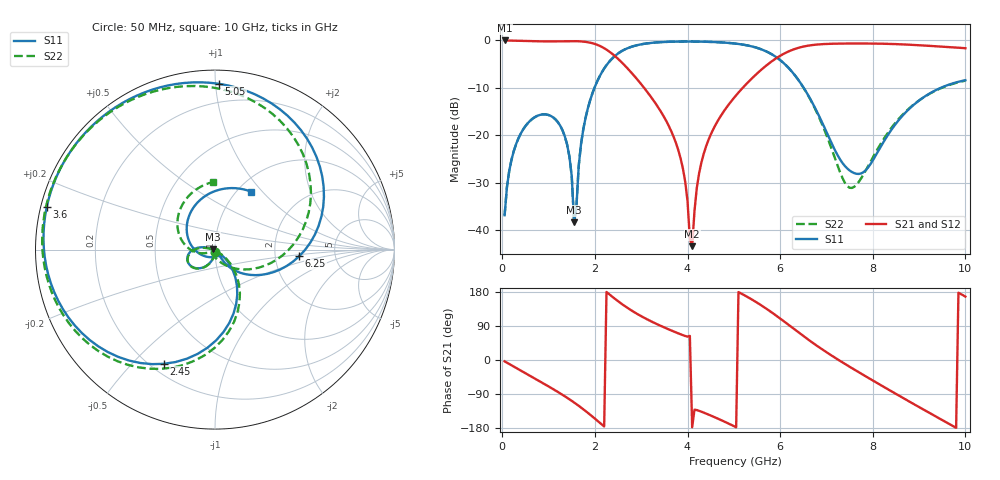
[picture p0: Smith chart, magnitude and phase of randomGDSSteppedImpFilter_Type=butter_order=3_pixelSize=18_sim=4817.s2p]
! freq	dB(S11)	phase(S11)	dB(S12)	phase(S12)
!  dB(S21)	phase(S21)	dB(S22)	phase(S22)
!S-par simulation data
#  GHz  S  DB  R 50
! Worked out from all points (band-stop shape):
!   200 points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, 50 MHz to 10 GHz, reference 50 ohm
!   highest |S21| = -0.01 dB at 50 MHz (marker M1); lowest = -43.4 dB at 4.1 GHz (marker M2)
!   |S21| within 3 dB of the highest: start of sweep to 2.397 GHz; 6.042 GHz to end of sweep
!   lowest |S11| = -38.3 dB at 1.55 GHz (marker M3), VSWR 1.02, Z = 48.8 + j0.0731 ohm
!   |S11| at or under -10 dB: start of sweep to 1.991 GHz; 6.509 GHz to 9.467 GHz (2.958 GHz wide, 37 % of centre)
!   |S22| runs from -38.3 to -0.2 dB; largest |S21 - S12| = 0
!   S11 on the Smith chart (normalised r, x): 50 MHz: 1.00, -0.03; 2.45 GHz: 0.25, -0.62; 3.6 GHz: 0.02, +0.12; 5.05 GHz: 0.08, +1.02; 6.25 GHz: 2.75, -0.26; 10 GHz: 1.15, +0.87
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0.05  -36.85 -93.0  -0.01 -3.6  -0.01 -3.6  -36.85 -92.9
0.35  -20.61 -115.1  -0.07 -24.5  -0.07 -24.5  -20.61 -114.5
0.95  -15.61 -157.2  -0.21 -66.2  -0.21 -66.2  -15.62 -155.6
1.4  -21.97 170.6  -0.16 -99.7  -0.16 -99.7  -21.98 173.3
1.55  -38.34 176.5  -0.15 -112.1  -0.15 -112.1  -38.32 -179.0
1.75  -18.70 -45.3  -0.25 -130.0  -0.25 -130.0  -18.68 -42.5
2.1  -7.62 -78.9  -1.14 -165.0  -1.14 -165.0  -7.61 -75.2
2.45  -3.13 -114.1  -3.45 159.8  -3.45 159.8  -3.13 -109.7
3.4  -0.38 176.7  -14.63 91.2  -14.63 91.2  -0.38 -176.6
3.6  -0.29 165.8  -18.13 80.5  -18.13 80.5  -0.29 172.9
3.9  -0.24 150.2  -27.00 65.5  -27.00 65.5  -0.23 158.2
4.1  -0.24 140.1  -43.38 -177.6  -43.38 -177.6  -0.23 148.6
4.2  -0.25 135.1  -31.12 -132.1  -31.12 -132.1  -0.24 143.8
4.35  -0.27 127.4  -23.88 -138.9  -23.88 -138.9  -0.27 136.6
5.05  -0.69 88.5  -11.56 -177.6  -11.56 -177.6  -0.68 99.8
5.75  -2.56 38.4  -4.92 131.4  -4.92 131.4  -2.55 51.5
6.25  -6.54 -4.5  -2.04 86.4  -2.04 86.4  -6.54 8.5
6.7  -13.22 -38.8  -0.97 45.6  -0.97 45.6  -13.34 -30.8
7.5  -27.42 -57.3  -0.65 -17.8  -0.65 -17.8  -31.07 -127.2
8.35  -19.58 -174.9  -0.73 -78.9  -0.73 -78.9  -19.13 -173.0
9.25  -11.06 110.4  -1.16 -141.4  -1.16 -141.4  -11.12 137.5
10  -8.39 58.0  -1.64 167.4  -1.64 167.4  -8.48 91.9
